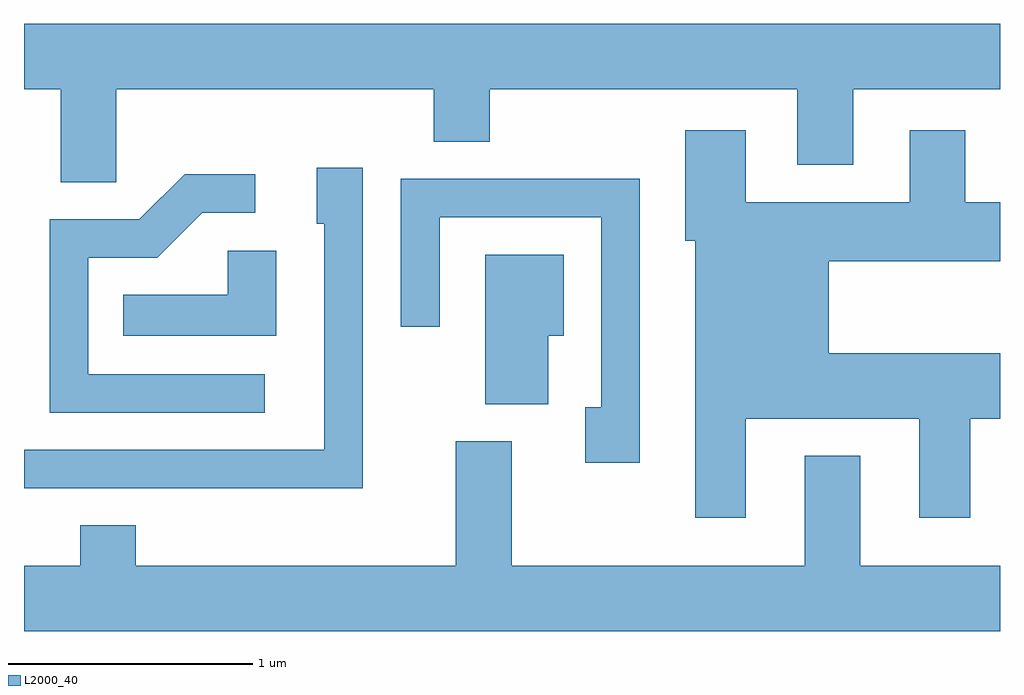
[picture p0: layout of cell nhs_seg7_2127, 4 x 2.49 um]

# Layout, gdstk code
import gdstk
lib = gdstk.Library(unit=1e-6, precision=1e-09)
def P(c, l, *ps):  # polygons
    for p in ps: c.add(gdstk.Polygon(p, *l))
L2000_40 = (2000, 40)

nhs_seg7_2127 = lib.new_cell('nhs_seg7_2127')
P(nhs_seg7_2127, L2000_40, [(249.989,1756.496),(251.291,1756.496),(251.291,1756.281),(251.519,1756.281),(251.519,1756.496),(252.781,1756.496),(252.781,1756.186),(253.009,1756.186),(253.009,1756.496),(253.611,1756.496),(253.611,1756.764),(249.611,1756.764),(249.611,1756.496),(249.761,1756.496),(249.761,1756.116),(249.989,1756.116)],
  [(252.569,1755.146),(253.281,1755.146),(253.281,1754.741),(253.489,1754.741),(253.489,1755.146),(253.611,1755.146),(253.611,1755.414),(252.909,1755.414),(252.909,1755.791),(253.611,1755.791),(253.611,1756.034),(253.469,1756.034),(253.469,1756.329),(253.241,1756.329),(253.241,1756.034),(252.569,1756.034),(252.569,1756.329),(252.321,1756.329),(252.321,1755.876),(252.361,1755.876),(252.361,1754.741),(252.569,1754.741)],
  [(250.999,1756.174),(250.811,1756.174),(250.811,1755.946),(250.841,1755.946),(250.841,1755.019),(249.611,1755.019),(249.611,1754.861),(250.999,1754.861)],
  [(250.598,1755.329),(249.874,1755.329),(249.874,1755.806),(250.157,1755.806),(250.342,1755.991),(250.558,1755.991),(250.558,1756.149),(250.269,1756.149),(250.084,1755.964),(249.716,1755.964),(249.716,1755.171),(250.598,1755.171)],
  [(252.134,1756.129),(251.156,1756.129),(251.156,1755.523),(251.314,1755.523),(251.314,1755.971),(251.976,1755.971),(251.976,1755.194),(251.911,1755.194),(251.911,1754.966),(252.134,1754.966)],
  [(250.644,1755.834),(250.446,1755.834),(250.446,1755.654),(250.018,1755.654),(250.018,1755.486),(250.644,1755.486)],
  [(251.759,1755.486),(251.824,1755.486),(251.824,1755.819),(251.501,1755.819),(251.501,1755.206),(251.759,1755.206)],
  [(253.611,1754.544),(253.039,1754.544),(253.039,1754.994),(252.811,1754.994),(252.811,1754.544),(251.609,1754.544),(251.609,1755.054),(251.381,1755.054),(251.381,1754.544),(250.069,1754.544),(250.069,1754.709),(249.841,1754.709),(249.841,1754.544),(249.611,1754.544),(249.611,1754.276),(253.611,1754.276)])

lib.write_gds('nhs_seg7_2127.gds')
